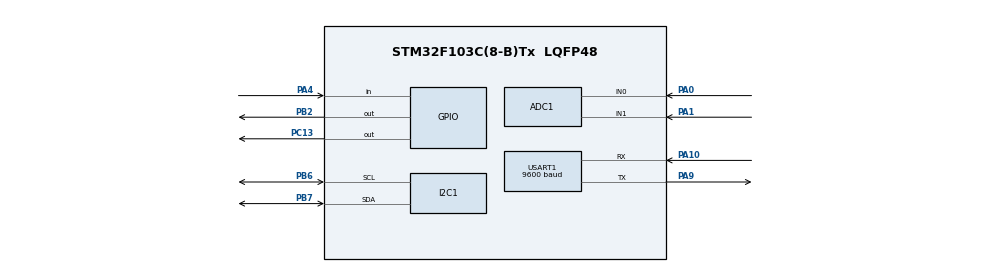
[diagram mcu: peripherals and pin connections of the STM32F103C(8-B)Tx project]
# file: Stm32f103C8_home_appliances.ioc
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ADC1.Channel-2\#ChannelRegularConversion=ADC_CHANNEL_0
ADC1.Channel-4\#ChannelRegularConversion=ADC_CHANNEL_1
ADC1.ContinuousConvMode=DISABLE
ADC1.DataAlign=ADC_DATAALIGN_RIGHT
ADC1.EnableRegularConversion=ENABLE
ADC1.InjNumberOfConversion=0
ADC1.NbrOfConversion=2
ADC1.NbrOfConversionFlag=1
ADC1.Rank-2\#ChannelRegularConversion=1
ADC1.Rank-4\#ChannelRegularConversion=2
ADC1.SamplingTime-2\#ChannelRegularConversion=ADC_SAMPLETIME_28CYCLES_5
ADC1.SamplingTime-4\#ChannelRegularConversion=ADC_SAMPLETIME_28CYCLES_5
ADC1.master=1
Dma.ADC1.1.Direction=DMA_PERIPH_TO_MEMORY
Dma.ADC1.1.Instance=DMA1_Channel1
Dma.ADC1.1.MemDataAlignment=DMA_MDATAALIGN_HALFWORD
Dma.ADC1.1.MemInc=DMA_MINC_ENABLE
Dma.ADC1.1.Mode=DMA_CIRCULAR
Dma.ADC1.1.PeriphDataAlignment=DMA_PDATAALIGN_HALFWORD
Dma.ADC1.1.PeriphInc=DMA_PINC_DISABLE
Dma.ADC1.1.Priority=DMA_PRIORITY_LOW
Dma.Request0=USART1_RX
Dma.Request1=ADC1
Dma.USART1_RX.0.Direction=DMA_PERIPH_TO_MEMORY
Dma.USART1_RX.0.Instance=DMA1_Channel5
Dma.USART1_RX.0.MemDataAlignment=DMA_MDATAALIGN_BYTE
Dma.USART1_RX.0.MemInc=DMA_MINC_ENABLE
Dma.USART1_RX.0.Mode=DMA_NORMAL
Dma.USART1_RX.0.PeriphDataAlignment=DMA_PDATAALIGN_BYTE
Dma.USART1_RX.0.PeriphInc=DMA_PINC_DISABLE
Dma.USART1_RX.0.Priority=DMA_PRIORITY_LOW
FREERTOS.Tasks01=defaultTask,0,128,StartDefaultTask,Default,NULL
Mcu.Family=STM32F1
Mcu.Name=STM32F103C(8-B)Tx
Mcu.Package=LQFP48
NVIC.DMA1_Channel1_IRQn=true\:5\:0\:false\:false\:true\:true\:false\:true
NVIC.DMA1_Channel5_IRQn=true\:5\:0\:false\:false\:true\:true\:false\:true
NVIC.PriorityGroup=NVIC_PRIORITYGROUP_4
PA0-WKUP.Signal=ADCx_IN0
PA1.Signal=ADCx_IN1
PA10.Mode=Multiprocessor_communication
PA10.Signal=USART1_RX
PA4.GPIO_PuPd=GPIO_PULLUP
PA4.Signal=GPIO_Input
PA9.Mode=Multiprocessor_communication
PA9.Signal=USART1_TX
PB2.Signal=GPIO_Output
PB6.Mode=I2C
PB6.Signal=I2C1_SCL
PB7.Mode=I2C
PB7.Signal=I2C1_SDA
PC13-TAMPER-RTC.PinState=GPIO_PIN_RESET
PC13-TAMPER-RTC.Signal=GPIO_Output
ProjectManager.HeapSize=0x200
ProjectManager.StackSize=0x400
ProjectManager.TargetToolchain=MDK-ARM V5
RCC.APB1Freq_Value=8000000
RCC.APB2Freq_Value=8000000
SH.ADCx_IN0.0=ADC1_IN0,IN0
SH.ADCx_IN1.0=ADC1_IN1,IN1
TIM2.Period=10000
TIM2.Prescaler=(36000000 / 10000) - 1
USART1.BaudRate=9600
USART1.VirtualMode=VM_ASYNC
VP_FREERTOS_VS_CMSIS_V1.Mode=CMSIS_V1
VP_SYS_VS_ND.Mode=No_Debug
VP_TIM2_VS_ClockSourceINT.Mode=Internal
board=custom

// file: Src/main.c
/* USER CODE BEGIN Header */
/**
  ******************************************************************************
  * @file           : main.c
  * @brief          : Main program body
  ******************************************************************************
  * @attention
  *
  * <h2><center>&copy; Copyright (c) 2019 STMicroelectronics.
  * All rights reserved.</center></h2>
  *
  * This software component is licensed by ST under Ultimate Liberty license
  * SLA0044, the "License"; You may not use this file except in compliance with
  * the License. You may obtain a copy of the License at:
  *                             www.st.com/SLA0044
  *
  ******************************************************************************
  */
/* USER CODE END Header */

#include "main.h"
#include "cmsis_os.h"

/* USER CODE BEGIN Includes */
#include "BH1750.h"
#include "SSD1306.h"
#include "fonts.h"
#include "DS1307.h"
/* USER CODE END Includes */

ADC_HandleTypeDef hadc1;
DMA_HandleTypeDef hdma_adc1;

I2C_HandleTypeDef hi2c1;

TIM_HandleTypeDef htim2;

UART_HandleTypeDef huart1;
DMA_HandleTypeDef hdma_usart1_rx;

osThreadId defaultTaskHandle;
/* USER CODE BEGIN PV */
osThreadId joystickTaskHandle;

/* USER CODE END PV */

void SystemClock_Config(void);
static void MX_GPIO_Init(void);
static void MX_DMA_Init(void);
static void MX_I2C1_Init(void);
static void MX_USART1_UART_Init(void);
static void MX_ADC1_Init(void);
static void MX_TIM2_Init(void);
void StartDefaultTask(void const * argument);

/* USER CODE BEGIN PFP */

void StartJoystickTask(void const * argument);
int ConvertFromInt(char* str, int a);
int ConvertFromFloat(char* str, float a);
int ConvertFromIntForTime(char* str, int a);
void Delay_us (uint16_t nTime);

/* USER CODE END PFP */

/* USER CODE BEGIN 0 */

	enum menu{
		LUX,
		HUMIDITY,
	};

	enum menu_do{
		NOT_DO,
		DO,
	};

	enum level{
		Menu,
		Component,
	};

	uint8_t tx_buff[10] = {'H','E','L','L','\n'};
	uint8_t rx_buff[10];
	uint16_t adcBuffer[2];
	time tDS1307;

	int menu_select, menu_level, is_clicked;

	SemaphoreHandle_t xSemaphore;

/* USER CODE END 0 */

int main(void)
{

  /* MCU Configuration--------------------------------------------------------*/

  /* Reset of all peripherals, Initializes the Flash interface and the Systick. */
  HAL_Init();

  /* Configure the system clock */
  SystemClock_Config();

  /* Initialize all configured peripherals */
  MX_GPIO_Init();
  MX_DMA_Init();
  MX_I2C1_Init();
  MX_USART1_UART_Init();
  MX_ADC1_Init();
  MX_TIM2_Init();
  /* USER CODE BEGIN 2 */

	HAL_UART_Receive_DMA(&huart1, rx_buff, 10);
	ssd1306_Init();
	BH1750_Init();

	HAL_ADC_Start_DMA(&hadc1, (uint32_t*) adcBuffer, 2);

	menu_select = LUX;
	menu_level = Menu;
	is_clicked = 0;
  /* USER CODE END 2 */

  /* USER CODE BEGIN RTOS_SEMAPHORES */
  /* add semaphores, ... */
	/* Create a mutex type semaphore. */
	 xSemaphore = xSemaphoreCreateMutex();

	 if( xSemaphore == NULL )
	 {
			 Error_Handler();
	 }
  /* USER CODE END RTOS_SEMAPHORES */

  /* Create the thread(s) */
  /* definition and creation of defaultTask */
  osThreadDef(defaultTask, StartDefaultTask, osPriorityNormal, 0, 128);
  defaultTaskHandle = osThreadCreate(osThread(defaultTask), NULL);

  /* USER CODE BEGIN RTOS_THREADS */
  /* add threads, ... */
	osThreadDef(joystickTask, StartJoystickTask, osPriorityNormal, 0, 128);
  joystickTaskHandle = osThreadCreate(osThread(joystickTask), NULL);
  /* USER CODE END RTOS_THREADS */

  /* Start scheduler */
  osKernelStart();

  /* We should never get here as control is now taken by the scheduler */

  /* Infinite loop */
  while (1)
  {

  }
}

void SystemClock_Config(void)
{
  RCC_OscInitTypeDef RCC_OscInitStruct = {0};
  RCC_ClkInitTypeDef RCC_ClkInitStruct = {0};
  RCC_PeriphCLKInitTypeDef PeriphClkInit = {0};

  /** Initializes the CPU, AHB and APB busses clocks
  */
  RCC_OscInitStruct.OscillatorType = RCC_OSCILLATORTYPE_HSI;
  RCC_OscInitStruct.HSIState = RCC_HSI_ON;
  RCC_OscInitStruct.HSICalibrationValue = RCC_HSICALIBRATION_DEFAULT;
  RCC_OscInitStruct.PLL.PLLState = RCC_PLL_NONE;
  if (HAL_RCC_OscConfig(&RCC_OscInitStruct) != HAL_OK)
  {
    Error_Handler();
  }
  /** Initializes the CPU, AHB and APB busses clocks
  */
  RCC_ClkInitStruct.ClockType = RCC_CLOCKTYPE_HCLK|RCC_CLOCKTYPE_SYSCLK
                              |RCC_CLOCKTYPE_PCLK1|RCC_CLOCKTYPE_PCLK2;
  RCC_ClkInitStruct.SYSCLKSource = RCC_SYSCLKSOURCE_HSI;
  RCC_ClkInitStruct.AHBCLKDivider = RCC_SYSCLK_DIV1;
  RCC_ClkInitStruct.APB1CLKDivider = RCC_HCLK_DIV1;
  RCC_ClkInitStruct.APB2CLKDivider = RCC_HCLK_DIV1;

  if (HAL_RCC_ClockConfig(&RCC_ClkInitStruct, FLASH_LATENCY_0) != HAL_OK)
  {
    Error_Handler();
  }
  PeriphClkInit.PeriphClockSelection = RCC_PERIPHCLK_ADC;
  PeriphClkInit.AdcClockSelection = RCC_ADCPCLK2_DIV2;
  if (HAL_RCCEx_PeriphCLKConfig(&PeriphClkInit) != HAL_OK)
  {
    Error_Handler();
  }
}

static void MX_ADC1_Init(void)
{

  ADC_ChannelConfTypeDef sConfig = {0};

  /** Common config
  */
  hadc1.Instance = ADC1;
  hadc1.Init.ScanConvMode = ADC_SCAN_ENABLE;
  hadc1.Init.ContinuousConvMode = DISABLE;
  hadc1.Init.DiscontinuousConvMode = DISABLE;
  hadc1.Init.ExternalTrigConv = ADC_SOFTWARE_START;
  hadc1.Init.DataAlign = ADC_DATAALIGN_RIGHT;
  hadc1.Init.NbrOfConversion = 2;
  if (HAL_ADC_Init(&hadc1) != HAL_OK)
  {
    Error_Handler();
  }
  /** Configure Regular Channel
  */
  sConfig.Channel = ADC_CHANNEL_0;
  sConfig.Rank = ADC_REGULAR_RANK_1;
  sConfig.SamplingTime = ADC_SAMPLETIME_28CYCLES_5;
  if (HAL_ADC_ConfigChannel(&hadc1, &sConfig) != HAL_OK)
  {
    Error_Handler();
  }
  /** Configure Regular Channel
  */
  sConfig.Channel = ADC_CHANNEL_1;
  sConfig.Rank = ADC_REGULAR_RANK_2;
  if (HAL_ADC_ConfigChannel(&hadc1, &sConfig) != HAL_OK)
  {
    Error_Handler();
  }

}

static void MX_I2C1_Init(void)
{

  hi2c1.Instance = I2C1;
  hi2c1.Init.ClockSpeed = 100000;
  hi2c1.Init.DutyCycle = I2C_DUTYCYCLE_2;
  hi2c1.Init.OwnAddress1 = 0;
  hi2c1.Init.AddressingMode = I2C_ADDRESSINGMODE_7BIT;
  hi2c1.Init.DualAddressMode = I2C_DUALADDRESS_DISABLE;
  hi2c1.Init.OwnAddress2 = 0;
  hi2c1.Init.GeneralCallMode = I2C_GENERALCALL_DISABLE;
  hi2c1.Init.NoStretchMode = I2C_NOSTRETCH_DISABLE;
  if (HAL_I2C_Init(&hi2c1) != HAL_OK)
  {
    Error_Handler();
  }

}

static void MX_TIM2_Init(void)
{

  TIM_ClockConfigTypeDef sClockSourceConfig = {0};
  TIM_MasterConfigTypeDef sMasterConfig = {0};

  htim2.Instance = TIM2;
  htim2.Init.Prescaler = (36000000 / 10000) - 1;
  htim2.Init.CounterMode = TIM_COUNTERMODE_UP;
  htim2.Init.Period = 10000;
  htim2.Init.ClockDivision = TIM_CLOCKDIVISION_DIV1;
  htim2.Init.AutoReloadPreload = TIM_AUTORELOAD_PRELOAD_DISABLE;
  if (HAL_TIM_Base_Init(&htim2) != HAL_OK)
  {
    Error_Handler();
  }
  sClockSourceConfig.ClockSource = TIM_CLOCKSOURCE_INTERNAL;
  if (HAL_TIM_ConfigClockSource(&htim2, &sClockSourceConfig) != HAL_OK)
  {
    Error_Handler();
  }
  sMasterConfig.MasterOutputTrigger = TIM_TRGO_RESET;
  sMasterConfig.MasterSlaveMode = TIM_MASTERSLAVEMODE_DISABLE;
  if (HAL_TIMEx_MasterConfigSynchronization(&htim2, &sMasterConfig) != HAL_OK)
  {
    Error_Handler();
  }
  /* USER CODE BEGIN TIM2_Init 2 */
	if (HAL_TIM_Base_Start(&htim2) != HAL_OK)
	{
		Error_Handler();
	}
  /* USER CODE END TIM2_Init 2 */

}

static void MX_USART1_UART_Init(void)
{

  huart1.Instance = USART1;
  huart1.Init.BaudRate = 9600;
  huart1.Init.WordLength = UART_WORDLENGTH_8B;
  huart1.Init.StopBits = UART_STOPBITS_1;
  huart1.Init.Parity = UART_PARITY_NONE;
  huart1.Init.Mode = UART_MODE_TX_RX;
  huart1.Init.HwFlowCtl = UART_HWCONTROL_NONE;
  huart1.Init.OverSampling = UART_OVERSAMPLING_16;
  if (HAL_MultiProcessor_Init(&huart1, 0, UART_WAKEUPMETHOD_IDLELINE) != HAL_OK)
  {
    Error_Handler();
  }

}

static void MX_DMA_Init(void)
{

  /* DMA controller clock enable */
  __HAL_RCC_DMA1_CLK_ENABLE();

  /* DMA interrupt init */
  /* DMA1_Channel1_IRQn interrupt configuration */
  HAL_NVIC_SetPriority(DMA1_Channel1_IRQn, 5, 0);
  HAL_NVIC_EnableIRQ(DMA1_Channel1_IRQn);
  /* DMA1_Channel5_IRQn interrupt configuration */
  HAL_NVIC_SetPriority(DMA1_Channel5_IRQn, 5, 0);
  HAL_NVIC_EnableIRQ(DMA1_Channel5_IRQn);

}

static void MX_GPIO_Init(void)
{
  GPIO_InitTypeDef GPIO_InitStruct = {0};

  /* GPIO Ports Clock Enable */
  __HAL_RCC_GPIOC_CLK_ENABLE();
  __HAL_RCC_GPIOA_CLK_ENABLE();
  __HAL_RCC_GPIOB_CLK_ENABLE();

  /*Configure GPIO pin Output Level */
  HAL_GPIO_WritePin(GPIOC, GPIO_PIN_13, GPIO_PIN_RESET);

  /*Configure GPIO pin Output Level */
  HAL_GPIO_WritePin(GPIOB, GPIO_PIN_2, GPIO_PIN_RESET);

  /*Configure GPIO pin : PC13 */
  GPIO_InitStruct.Pin = GPIO_PIN_13;
  GPIO_InitStruct.Mode = GPIO_MODE_OUTPUT_PP;
  GPIO_InitStruct.Pull = GPIO_NOPULL;
  GPIO_InitStruct.Speed = GPIO_SPEED_FREQ_LOW;
  HAL_GPIO_Init(GPIOC, &GPIO_InitStruct);

  /*Configure GPIO pin : PA4 */
  GPIO_InitStruct.Pin = GPIO_PIN_4;
  GPIO_InitStruct.Mode = GPIO_MODE_INPUT;
  GPIO_InitStruct.Pull = GPIO_PULLUP;
  HAL_GPIO_Init(GPIOA, &GPIO_InitStruct);

  /*Configure GPIO pin : PB2 */
  GPIO_InitStruct.Pin = GPIO_PIN_2;
  GPIO_InitStruct.Mode = GPIO_MODE_OUTPUT_PP;
  GPIO_InitStruct.Pull = GPIO_NOPULL;
  GPIO_InitStruct.Speed = GPIO_SPEED_FREQ_LOW;
  HAL_GPIO_Init(GPIOB, &GPIO_InitStruct);

}

/* USER CODE BEGIN 4 */

void HAL_UART_RxCpltCallback(UART_HandleTypeDef *UartHandle)
{
	HAL_GPIO_TogglePin(GPIOC, GPIO_PIN_13);
	HAL_UART_Transmit(UartHandle, rx_buff, sizeof(rx_buff), 1000);
	HAL_UART_Receive_DMA(UartHandle, rx_buff, 10);
}

//void HAL_GPIO_EXTI_Callback(uint16_t GPIO_Pin)
//{
//	if (GPIO_Pin == GPIO_PIN_4)
//	{
//		if (!HAL_GPIO_ReadPin(GPIOA, GPIO_PIN_4))
//			HAL_UART_Transmit(&huart1,(uint8_t *) "Clicked\n", 8, 1000);
//	}
//}

/* USER CODE BEGIN Header_StartDefaultTask */
/**
  * @brief  Function implementing the defaultTask thread.
  * @param  argument: Not used
  * @retval None
  */
/* USER CODE END Header_StartDefaultTask */
void StartJoystickTask(void const * argument)
{
	for(;;)
  {
		char str[6];
		int len;

		// Call DMA ADC
		HAL_ADC_Start_DMA(&hadc1, (uint32_t*) adcBuffer, 2);

		//ssd1306_SetCursor(70,23);
		len = ConvertFromInt(str, adcBuffer[0]);
		//ssd1306_WriteString(str ,Font_11x18, Black);
//		HAL_UART_Transmit(&huart1,(uint8_t*) str, len, 1000);
//		HAL_UART_Transmit(&huart1,(uint8_t *) "\n", 1, 1000);
//		len = ConvertFromInt(str, adcBuffer[1]);
		//ssd1306_SetCursor(70,40);
		//ssd1306_WriteString(str ,Font_11x18, Black);
//		HAL_UART_Transmit(&huart1,(uint8_t*) str, len, 1000);
//		HAL_UART_Transmit(&huart1,(uint8_t *) "\n", 1, 1000);

		//ssd1306_UpdateScreen();

		/* Check X, Y Joystick task */
		if (adcBuffer[0] > 3500) // right
		{
			HAL_UART_Transmit(&huart1,(uint8_t *) "trigger right\n", 8, 1000);
			while (adcBuffer[0] > 2000) HAL_ADC_Start_DMA(&hadc1, (uint32_t*) adcBuffer, 2);
		}
		else if (adcBuffer[0] < 100) // left
		{
			HAL_UART_Transmit(&huart1,(uint8_t *) "trigger left\n", 8, 1000);
			while (adcBuffer[0] < 1500) HAL_ADC_Start_DMA(&hadc1, (uint32_t*) adcBuffer, 2);
		}
		else if (adcBuffer[1] > 3500) // down
		{
			if (menu_level == Menu)
			{
				menu_select++;
			}
			HAL_UART_Transmit(&huart1,(uint8_t *) "trigger down\n", 8, 1000);
			while (adcBuffer[1] > 2000) HAL_ADC_Start_DMA(&hadc1, (uint32_t*) adcBuffer, 2);
		}
		else if (adcBuffer[1] < 500) // up
		{
			if (menu_level == Menu)
			{
				menu_select--;
			}
			HAL_UART_Transmit(&huart1,(uint8_t *) "trigger up\n", 8, 1000);
			while (adcBuffer[1] < 1500) HAL_ADC_Start_DMA(&hadc1, (uint32_t*) adcBuffer, 2);
		}

		if (menu_select > HUMIDITY)
		{
			menu_select = LUX;
		}
		if (menu_select < LUX)
		{
			menu_select = HUMIDITY;
		}

		/* Check SW */
		if (!HAL_GPIO_ReadPin(GPIOA, GPIO_PIN_4))
		{
			HAL_UART_Transmit(&huart1,(uint8_t *) "Clicked\n", 8, 1000);
			is_clicked = 1;
			while (!HAL_GPIO_ReadPin(GPIOA, GPIO_PIN_4));
		}

		osDelay(1);
	}
}

/* USER CODE END 4 */

void StartDefaultTask(void const * argument)
{

  /* USER CODE BEGIN 5 */
	ssd1306_Fill(White);
	ssd1306_UpdateScreen();
	osDelay(1000);

	tDS1307.out = 1;
	tDS1307.sqwe = 1;
	tDS1307.rs1 = 0;
	tDS1307.rs0 = 0;

	tDS1307.day_of_week = 6;
	tDS1307.date = 21;
	tDS1307.month = 9;
	tDS1307.year = 19;

	tDS1307.hours = 2;
	tDS1307.minutes = 12;
	tDS1307.seconds = 10;

	//writeTime(&tDS1307);
	osDelay(1000);

  /* Infinite loop */
  for(;;)
  {
		char str[6];
		int len;

		//if( xSemaphore != NULL )
    {
			// Block
			//if (xSemaphoreTake( xSemaphore, ( TickType_t ) 10 ) == pdTRUE)
			{
//				HAL_GPIO_TogglePin(GPIOC, GPIO_PIN_13);
//				int temp = DHT22_Read (&data);
//				if ( temp == 1 )
//				{
//					/* Use data.temperature and data.humidity */
//					int len = ConvertFromFloat(str, data.temperature);
//					HAL_UART_Transmit(&huart1,(uint8_t*) str, len, 1000);
//					HAL_UART_Transmit(&huart1,(uint8_t*) "oC\n", 3, 1000);
//					ConvertFromFloat(str, data.humidity);
//					HAL_UART_Transmit(&huart1,(uint8_t*) str, sizeof(str), 1000);
//					HAL_UART_Transmit(&huart1,(uint8_t*) "GO\n", 3, 1000);

					/* FILL TIME */
					//tDS1307 = getTime();
					//printTime(&tDS1307);

					ssd1306_Fill(White);

					ssd1306_SetCursor(1,2);
					len = ConvertFromIntForTime(str, tDS1307.hours);
					ssd1306_WriteString(str ,Font_7x10,Black);
					ssd1306_WriteString(":" ,Font_7x10,Black);
					len = ConvertFromIntForTime(str, tDS1307.minutes);
					ssd1306_WriteString(str ,Font_7x10,Black);
					ssd1306_WriteString(" " ,Font_7x10,Black);

					get_Day_Of_Week(str, tDS1307.day_of_week);
					//len = ConvertFromInt(str, tDS1307.day_of_week);
					ssd1306_WriteString(str ,Font_7x10,Black);
					ssd1306_WriteString("," ,Font_7x10,Black);
					len = ConvertFromIntForTime(str, tDS1307.date);
					ssd1306_WriteString(str ,Font_7x10,Black);
					ssd1306_WriteString("-" ,Font_7x10,Black);
					len = ConvertFromIntForTime(str, tDS1307.month);
					ssd1306_WriteString(str ,Font_7x10,Black);
					ssd1306_WriteString("-" ,Font_7x10,Black);
					len = ConvertFromIntForTime(str, tDS1307.year);
					ssd1306_WriteString(str ,Font_7x10,Black);

					/* Do menu */
					if (menu_level == Menu)
					{
						/* FILL MENU */
						ssd1306_SetCursor(3,20);
						ssd1306_WriteString("View lux" ,Font_7x10, Black);
						ssd1306_SetCursor(3,33);
						ssd1306_WriteString("View humidity" ,Font_7x10, Black);
						switch (menu_select)
						{
							case LUX:
								ssd1306_SetCursor(60,20);
								ssd1306_WriteString("*", Font_7x10, Black);
								break;
							case HUMIDITY:
								ssd1306_SetCursor(100,33);
								ssd1306_WriteString("*", Font_7x10, Black);
								break;
						};
						if (is_clicked == 1) // user just clicked
						{
							menu_level = Component;
							is_clicked = 0;
						}
					}
					else if (menu_level == Component)
					{
						switch (menu_select)
						{
							case LUX:
								ssd1306_SetCursor(2,23);
								ssd1306_DrawLuxIcon(Black);

								ssd1306_SetCursor(24,23);
								len = ConvertFromInt(str, BH1750_Read());
								ssd1306_WriteString(str ,Font_11x18,Black);

								ssd1306_SetCursor(70,23);
							  ssd1306_WriteString("Back*" ,Font_7x10,Black);
								if (is_clicked == 1)
								{
									menu_level = Menu;
									is_clicked = 0;
								}
								break;
							case HUMIDITY:
								ssd1306_SetCursor(100,33);
								ssd1306_WriteString("*", Font_7x10, Black);
								break;
						};
					}

					ssd1306_UpdateScreen();
					osDelay(1000);
				}
//				else
//				{
//					/*
//						Error - check response code in data.rcv_response, for more info
//						attach debugger and examine impulse times in data.bits[40] (dht22.c)
//					*/
//					int len = ConvertFromInt(str, data.rcv_response);
//					HAL_UART_Transmit(&huart1,(uint8_t*) str, len, 1000);
//				}

				// Unlock
				//xSemaphoreGive( xSemaphore );
			}

//		HAL_GPIO_WritePin(DHT22_GPIO_PORT, DHT22_GPIO_PIN, GPIO_PIN_SET);
//		for (time = 0; time < 100; time++)
//		{
//			Delay_us(10000);
//		}
//		HAL_GPIO_WritePin(DHT22_GPIO_PORT, DHT22_GPIO_PIN, GPIO_PIN_RESET);
//		for (time = 0; time < 100; time++)
//		{
//			Delay_us(10000);
//		}
//
		}
	//}
  /* USER CODE END 5 */
}

void Error_Handler(void)
{
	while(1){
	}
}

/************************ (C) COPYRIGHT STMicroelectronics *****END OF FILE****/
